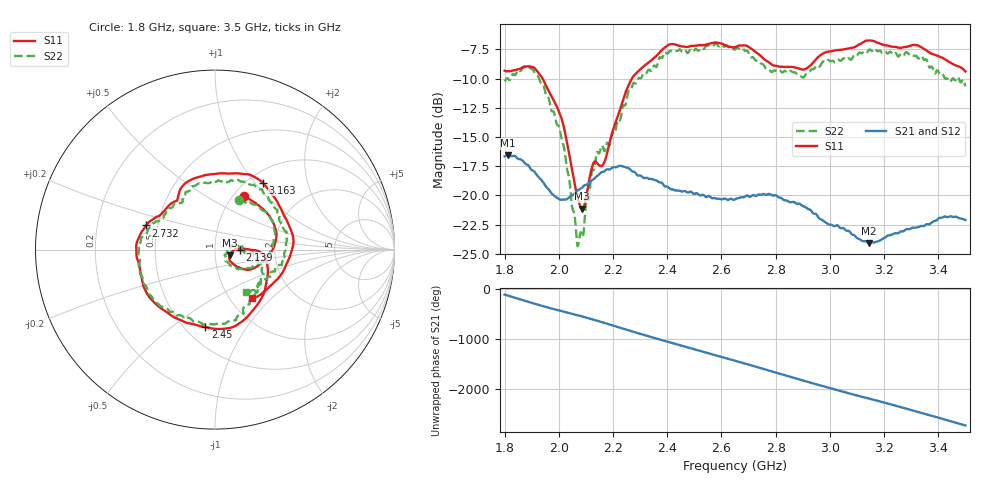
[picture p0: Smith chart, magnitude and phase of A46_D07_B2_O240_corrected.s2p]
! Created with skrf 1.9.0 (http://scikit-rf.org).
# Hz S RI R 50.0
!freq ReS11 ImS11 ReS21 ImS21 ReS12 ImS12 ReS22 ImS22
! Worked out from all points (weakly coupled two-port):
!   1601 points, 1.8 GHz to 3.5 GHz, reference 50 ohm
!   highest |S21| = -16.56 dB at 1.812 GHz (marker M1); lowest = -24.1 dB at 3.143 GHz (marker M2)
!   lowest |S11| = -21.1 dB at 2.086 GHz (marker M3), VSWR 1.19, Z = 58.7 - j3.85 ohm
!   |S11| at or under -10 dB: 1.94 GHz to 2.269 GHz (329 MHz wide, 15.6 % of centre)
!   |S22| runs from -24.4 to -7.0 dB; largest |S21 - S12| = 0.0027
!   S11 on the Smith chart (normalised r, x): 1.8 GHz: 1.11, +0.76; 2.139 GHz: 1.32, -0.00; 2.45 GHz: 0.63, -0.67; 2.732 GHz: 0.43, +0.14; 3.163 GHz: 1.17, +1.10; 3.5 GHz: 1.26, -0.77
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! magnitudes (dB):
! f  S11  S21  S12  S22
! 1.8 GHz  -9.3  -16.7  -16.7  -10.2
! 1.812 GHz  -9.4  -16.6  -16.6  -10.0
! 1.883 GHz  -9.0  -17.4  -17.4  -9.0
! 1.941 GHz  -10.0  -18.8  -18.8  -10.5
! 2.01 GHz  -13.4  -20.4  -20.3  -15.2
! 2.067 GHz  -19.9  -19.6  -19.6  -24.0
! 2.084 GHz  -21.1  -19.4  -19.3  -23.3
! 2.086 GHz  -21.1  -19.3  -19.3  -23.4
! 2.139 GHz  -17.2  -18.4  -18.4  -16.4
! 2.168 GHz  -17.2  -17.9  -18.0  -16.2
! 2.269 GHz  -10.0  -17.9  -17.9  -10.8
! 2.367 GHz  -7.9  -18.8  -18.8  -8.4
! 2.45 GHz  -7.2  -19.6  -19.6  -7.6
! 2.65 GHz  -7.3  -20.3  -20.3  -7.5
! 2.732 GHz  -7.8  -20.0  -20.0  -8.4
! 2.809 GHz  -9.0  -20.1  -20.1  -9.3
! 2.934 GHz  -8.7  -21.4  -21.4  -9.2
! 3.143 GHz  -6.7  -24.1  -24.0  -7.6
! 3.163 GHz  -6.8  -24.0  -24.0  -7.5
! 3.217 GHz  -7.2  -23.4  -23.4  -7.8
! 3.325 GHz  -7.1  -22.7  -22.7  -8.2
! 3.5 GHz  -9.4  -22.1  -22.1  -10.7
